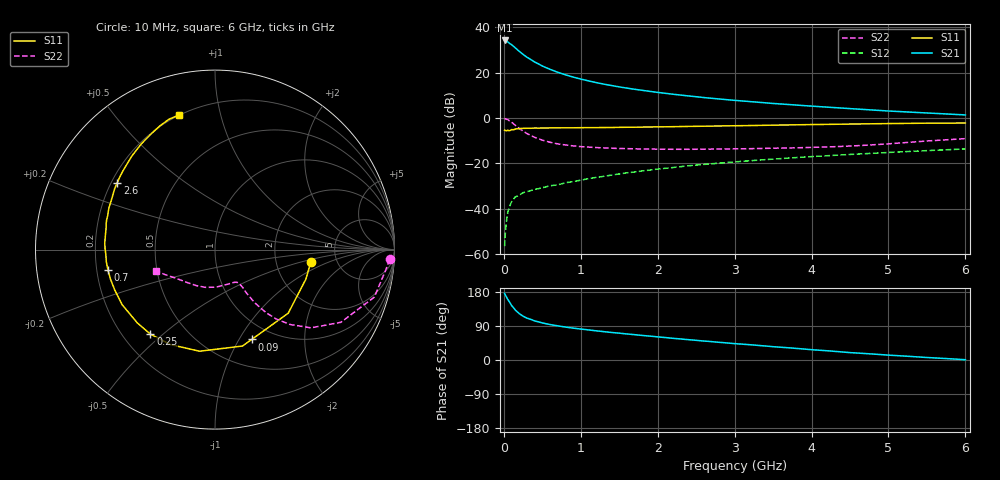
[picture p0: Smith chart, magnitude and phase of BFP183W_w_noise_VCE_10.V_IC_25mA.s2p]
! Infineon Technologies  Discrete & RF Semiconductors
! BFP183W
! VCE =  10. V,  IC =  25 mA
! Common Emitter S-Parameters:  Jan 2017
# GHz  S  MA  R  50
!  f  S11  S21  S12  S22
! GHz  MAG  ANG  MAG  ANG  MAG  ANG  MAG  ANG
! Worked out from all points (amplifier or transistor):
!   77 points, 10 MHz to 6 GHz, reference 50 ohm
!   highest |S21| = 34.2 dB at 10 MHz (marker M1)
!   |S21| within 3 dB of that: start of sweep to 139.4 MHz
!   unconditionally stable (mu >= 1): 1.163 GHz to 3.491 GHz
!   at 130 MHz: K = 0.25, MSG = 33.5 dB, |S12| = -35.6 dB
!   at 2.2 GHz: K = 1.06, MAG = 14.6 dB, |S12| = -21.8 dB
!   at 6 GHz: K = 0.86, MSG = 7.5 dB, |S12| = -13.6 dB
!   lowest NFmin = 1.29 dB at 450 MHz
!   S11 on the Smith chart (normalised r, x): 10 MHz: 3.20, -0.62; 90 MHz: 0.80, -1.13; 250 MHz: 0.31, -0.45; 700 MHz: 0.25, -0.09; 2.6 GHz: 0.22, +0.30; 6 GHz: 0.20, +0.75
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0.01  0.5384 -7.3  51.21 175.7  0.0015 77.5  0.9739 -3.2
0.02  0.5325 -18.0  50.28 171.3  0.003 100.3  0.9588 -6.7
0.05  0.5404 -41.0  47.66 160.2  0.0082 69.1  0.9262 -16.6
0.09  0.5407 -67.8  42.39 147.4  0.013 64.7  0.8294 -27.0
0.1  0.5587 -74.1  41.45 143.8  0.0142 64.1  0.8101 -30.0
0.15  0.5727 -98.6  35.05 131.6  0.0183 55.7  0.6898 -39.2
0.2  0.5842 -115.0  29.54 122.5  0.0198 51.5  0.5915 -44.9
0.25  0.5928 -127.4  25.27 115.6  0.0227 47.9  0.5145 -48.6
0.3  0.5951 -136.7  21.87 110.6  0.0238 47.0  0.4553 -50.9
0.4  0.6015 -149.3  17.18 103.1  0.0266 47.4  0.375 -53.1
0.5  0.6022 -158.0  14.01 97.8  0.029 48.3  0.3256 -53.8
0.6  0.6051 -164.1  11.84 93.6  0.0322 49.8  0.2922 -54.1
0.7  0.6071 -169.2  10.2 90.2  0.0336 51.7  0.2693 -53.8
0.9  0.6087 -177.4  7.988 84.2  0.0397 54.2  0.2435 -54.2
1.1  0.6153 176.7  6.586 79.4  0.0462 56.9  0.229 -54.8
1.5  0.6234 166.7  4.853 70.8  0.0585 59.3  0.2129 -58.6
2.1  0.6405 154.2  3.503 59.2  0.078 59.5  0.2053 -69.3
2.6  0.66 145.6  2.827 50.1  0.0949 57.9  0.2056 -81.3
3.1  0.6789 137.7  2.376 41.8  0.1112 56.1  0.2101 -93.9
4.1  0.7209 123.7  1.784 25.8  0.1445 51.0  0.2278 -119.9
5.1  0.7575 113.0  1.4 11.7  0.1775 45.1  0.2777 -146.0
6  0.7763 105.1  1.17 0.7  0.2083 39.1  0.3514 -160.3
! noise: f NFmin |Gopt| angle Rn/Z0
0.45  1.29  0.25  177  0.1
0.9  1.32  0.28  180  0.09
1.9  1.8  0.43  -158  0.09
2.4  2.04  0.48  -154  0.13
